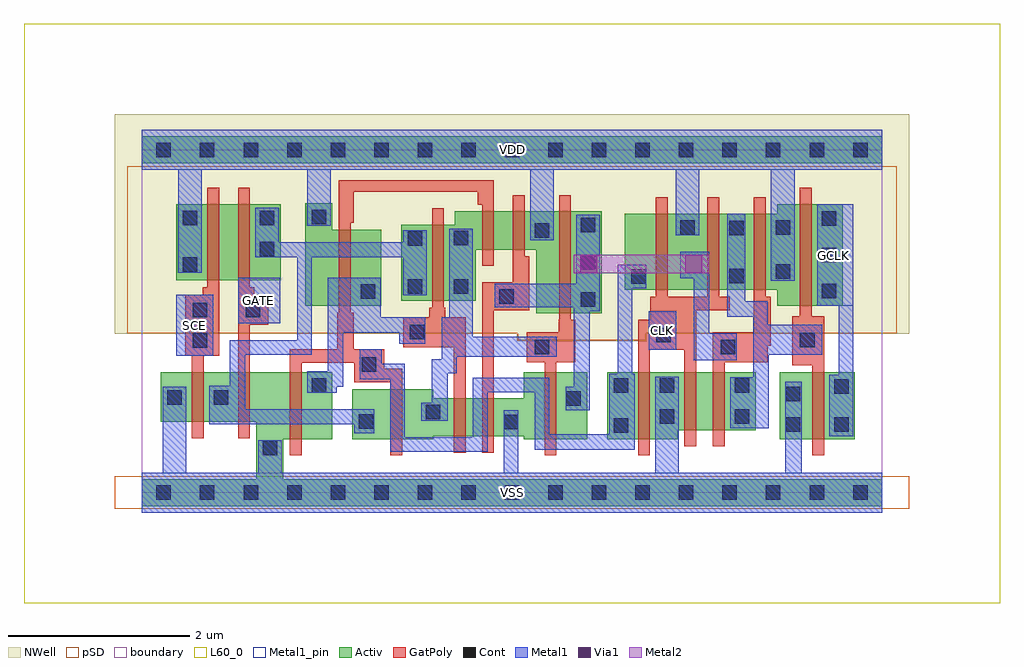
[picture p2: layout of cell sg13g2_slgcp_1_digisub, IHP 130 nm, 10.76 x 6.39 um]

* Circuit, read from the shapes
.subckt sg13g2_slgcp_1_digisub CLK GATE GCLK SCE VDD VSS
XM1 n1 SCE VSS VSS sg13_lv_nmos w=0.55u l=0.13u
XM2 VSS GATE n1 VSS sg13_lv_nmos w=0.55u l=0.13u
XM3 n2 n3 VSS VSS sg13_lv_nmos w=0.74u l=0.13u
XM4 n4 n3 n1 VSS sg13_lv_nmos w=0.55u l=0.13u
XM5 n5 n2 n4 VSS sg13_lv_nmos w=0.42u l=0.13u
XM6 VSS n6 n5 VSS sg13_lv_nmos w=0.42u l=0.13u
XM7 n6 n4 VSS VSS sg13_lv_nmos w=0.74u l=0.13u
XM8 VSS CLK n3 VSS sg13_lv_nmos w=0.74u l=0.13u
XM9 n7 CLK VSS VSS sg13_lv_nmos w=0.64u l=0.13u
XM10 n8 n6 n7 VSS sg13_lv_nmos w=0.64u l=0.13u
XM11 GCLK n8 VSS VSS sg13_lv_nmos w=0.74u l=0.13u
XM12 n9 SCE VDD VDD sg13_lv_pmos w=0.84u l=0.13u
XM13 n1 GATE n9 VDD sg13_lv_pmos w=0.84u l=0.13u
XM14 n2 n3 VDD VDD sg13_lv_pmos w=0.84u l=0.13u
XM15 n4 n2 n1 VDD sg13_lv_pmos w=0.84u l=0.13u
XM16 n10 n3 n4 VDD sg13_lv_pmos w=0.42u l=0.13u
XM17 VDD n6 n10 VDD sg13_lv_pmos w=0.42u l=0.13u
XM18 n6 n4 VDD VDD sg13_lv_pmos w=1.12u l=0.13u
XM19 VDD CLK n3 VDD sg13_lv_pmos w=0.84u l=0.13u
XM20 n8 CLK VDD VDD sg13_lv_pmos w=0.84u l=0.13u
XM21 VDD n6 n8 VDD sg13_lv_pmos w=0.84u l=0.13u
XM22 GCLK n8 VDD VDD sg13_lv_pmos w=1.12u l=0.13u
.ends

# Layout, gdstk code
import gdstk
lib = gdstk.Library(unit=1e-6, precision=1e-09)
def R(c, l, rs):  # rectangles x0, y0, x1, y1
    for r in rs: c.add(gdstk.rectangle(r[:2], r[2:], *l))
def A(c, l, x, y, w, h, nx, ny, dx, dy):  # array of equal rectangles
    R(c, l, [(x+i*dx, y+j*dy, x+i*dx+w, y+j*dy+h) for i in range(nx) for j in range(ny)])
def P(c, l, *ps):  # polygons
    for p in ps: c.add(gdstk.Polygon(p, *l))
Activ = (1, 0)
GatPoly = (5, 0)
Cont = (6, 0)
Metal1 = (8, 0)
Metal1_pin = (8, 2)
Metal2 = (10, 0)
pSD = (14, 0)
Via1 = (19, 0)
NWell = (31, 0)
L60_0 = (60, 0)
boundary = (189, 4)

sg13g2_slgcp_1_digisub = lib.new_cell('sg13g2_slgcp_1_digisub')
R(sg13g2_slgcp_1_digisub, Activ, [(7.03,0.59,7.86,1.33), (0.38,2.34,1.53,3.18), (0,3.63,8.16,3.93)])
P(sg13g2_slgcp_1_digisub, Activ, [(8.16,0.15),(1.56,0.15),(1.56,0.59),(2.1,0.59),(2.1,1.33),(0.21,1.33),(0.21,0.78),(1.26,0.78),(1.26,0.15),(0,0.15),(0,-0.15),(8.16,-0.15)],
  [(7.725,3.18),(7.005,3.18),(7.005,3.075),(5.325,3.075),(5.325,2.235),(7.005,2.235),(7.005,2.06),(7.725,2.06)],
  [(6.765,1.33),(5.13,1.33),(5.13,0.59),(5.91,0.59),(5.91,0.69),(6.765,0.69)],
  [(5.07,3.1),(3.45,3.1),(3.45,2.955),(2.86,2.955),(2.86,2.115),(3.68,2.115),(3.68,2.68),(4.345,2.68),(4.345,1.98),(5.07,1.98)],
  [(4.91,1.33),(4.21,1.33),(4.21,1.04),(3.21,1.04),(3.21,1.14),(2.32,1.14),(2.32,0.59),(3.21,0.59),(3.21,0.62),(4.21,0.62),(4.21,0.59),(4.91,0.59)],
  [(2.64,2.9),(2.1,2.9),(2.1,3.19),(1.8,3.19),(1.8,2.06),(2.64,2.06)])
P(sg13g2_slgcp_1_digisub, GatPoly, [(7.52,1.945),(7.385,1.945),(7.385,3.36),(7.255,3.36),(7.255,1.945),(7.17,1.945),(7.17,1.405),(7.39,1.405),(7.39,0.41),(7.52,0.41)],
  [(6.93,2.16),(6.875,2.16),(6.875,3.255),(6.745,3.255),(6.745,1.77),(6.295,1.77),(6.295,0.51),(6.425,0.51),(6.425,1.44),(6.9,1.44),(6.9,1.62),(6.93,1.62)],
  [(6.48,2.16),(6.365,2.16),(6.365,3.255),(6.235,3.255),(6.235,2.16),(5.795,2.16),(5.795,3.255),(5.665,3.255),(5.665,2.16),(5.605,2.16),(5.605,1.905),(5.47,1.905),(5.47,0.41),(5.6,0.41),(5.6,1.575),(5.98,1.575),(5.98,0.51),(6.11,0.51),(6.11,2.01),(6.48,2.01)],
  [(4.775,1.905),(4.73,1.905),(4.73,3.28),(4.6,3.28),(4.6,1.905),(4.595,1.905),(4.595,1.77),(4.245,1.77),(4.245,1.44),(4.44,1.44),(4.44,0.41),(4.57,0.41),(4.57,1.44),(4.775,1.44)],
  [(4.27,2.605),(4.22,2.605),(4.22,3.28),(4.09,3.28),(4.09,2.32),(3.75,2.32),(3.75,0.44),(3.88,0.44),(3.88,2.01),(4.27,2.01)],
  [(3.88,3.445),(2.17,3.445),(2.17,1.985),(2.155,1.985),(2.155,1.58),(1.63,1.58),(1.63,0.41),(1.76,0.41),(1.76,1.43),(2.34,1.43),(2.34,1.215),(2.74,1.215),(2.74,0.41),(2.87,0.41),(2.87,1.365),(2.67,1.365),(2.67,1.58),(2.335,1.58),(2.335,1.985),(2.3,1.985),(2.3,2.975),(2.335,2.975),(2.335,3.315),(3.7,3.315),(3.7,3.175),(3.75,3.175),(3.75,2.5),(3.88,2.5)],
  [(3.57,1.935),(3.345,1.935),(3.345,2.04),(3.33,2.04),(3.33,3.135),(3.2,3.135),(3.2,2.04),(3.165,2.04),(3.165,1.935),(2.88,1.935),(2.88,1.605),(3.44,1.605),(3.44,0.44),(3.57,0.44)],
  [(1.39,2.18),(1.24,2.18),(1.24,2.265),(1.19,2.265),(1.19,3.36),(1.06,3.36),(1.06,0.6),(1.19,0.6),(1.19,1.85),(1.39,1.85)],
  [(0.85,3.36),(0.72,3.36),(0.72,2.265),(0.67,2.265),(0.67,2.18),(0.475,2.18),(0.475,1.51),(0.55,1.51),(0.55,0.6),(0.68,0.6),(0.68,1.51),(0.85,1.51)])
A(sg13g2_slgcp_1_digisub, Cont, 0.16, -0.08, 0.16, 0.16, 17, 2, 0.48, 3.78)
A(sg13g2_slgcp_1_digisub, Cont, 4.84, 2.05, 0.16, 0.16, 1, 3, 0, 0.41)
R(sg13g2_slgcp_1_digisub, Cont, [(1.33,0.41,1.49,0.57), (5.2,0.66,5.36,0.82), (7.1,0.67,7.26,0.83), (7.63,0.67,7.79,0.83), (3.99,0.7,4.15,0.86), (2.39,0.705,2.55,0.865), (5.71,0.76,5.87,0.92), (6.535,0.76,6.695,0.92), (3.13,0.81,3.29,0.97), (4.68,0.96,4.84,1.12), (0.28,0.97,0.44,1.13), (0.79,0.97,0.95,1.13), (7.1,1.01,7.26,1.17), (7.63,1.09,7.79,1.25), (1.87,1.1,2.03,1.26), (5.2,1.1,5.36,1.26), (5.71,1.1,5.87,1.26), (6.535,1.1,6.695,1.26), (2.425,1.335,2.585,1.495), (4.33,1.525,4.49,1.685), (6.38,1.525,6.54,1.685), (0.56,1.595,0.72,1.755), (7.255,1.605,7.415,1.765), (5.67,1.66,5.83,1.82), (2.95,1.69,3.11,1.85), (0.56,1.935,0.72,2.095), (1.145,1.935,1.305,2.095), (3.94,2.085,4.1,2.245), (2.41,2.14,2.57,2.3), (7.495,2.145,7.655,2.305), (2.93,2.19,3.09,2.35), (3.44,2.19,3.6,2.35), (5.395,2.305,5.555,2.465), (6.475,2.31,6.635,2.47), (6.985,2.36,7.145,2.52), (0.45,2.435,0.61,2.595), (7.495,2.54,7.655,2.7), (1.3,2.605,1.46,2.765), (2.93,2.72,3.09,2.88), (3.44,2.725,3.6,2.885), (4.33,2.81,4.49,2.97), (6.475,2.84,6.635,3), (5.935,2.845,6.095,3.005), (6.985,2.845,7.145,3.005), (7.495,2.945,7.655,3.105), (0.45,2.95,0.61,3.11), (1.3,2.95,1.46,3.11), (1.87,2.96,2.03,3.12)])
R(sg13g2_slgcp_1_digisub, Metal1, [(0.38,1.51,0.785,2.18), (5.585,1.575,5.89,2), (1.06,1.865,1.525,2.37)])
P(sg13g2_slgcp_1_digisub, Metal1, [(8.16,0.22),(7.275,0.22),(7.275,1.22),(7.09,1.22),(7.09,0.22),(5.92,0.22),(5.92,1.275),(5.66,1.275),(5.66,0.22),(4.15,0.22),(4.15,0.91),(3.99,0.91),(3.99,0.22),(1.54,0.22),(1.54,0.575),(1.28,0.575),(1.28,0.22),(0.49,0.22),(0.49,1.165),(0.23,1.165),(0.23,0.22),(0,0.22),(0,-0.22),(8.16,-0.22)],
  [(8.16,4),(0,4),(0,3.56),(0.4,3.56),(0.4,2.425),(0.66,2.425),(0.66,3.56),(1.82,3.56),(1.82,2.94),(2.08,2.94),(2.08,3.56),(4.28,3.56),(4.28,2.785),(4.54,2.785),(4.54,3.56),(5.885,3.56),(5.885,2.835),(6.145,2.835),(6.145,3.56),(6.935,3.56),(6.935,2.335),(7.195,2.335),(7.195,3.56),(8.16,3.56)],
  [(7.84,3.18),(7.445,3.18),(7.445,2.06),(7.68,2.06),(7.68,1.3),(7.58,1.3),(7.58,0.62),(7.84,0.62)],
  [(7.5,1.85),(6.9,1.85),(6.9,2.11),(6.65,2.11),(6.65,3.075),(6.455,3.075),(6.455,1.94),(6.74,1.94),(6.74,1.27),(6.485,1.27),(6.485,0.71),(6.91,0.71),(6.91,1.52),(7.5,1.52)],
  [(6.56,1.76),(6.255,1.76),(6.255,2.655),(5.935,2.655),(5.935,2.365),(6.085,2.365),(6.085,1.46),(6.56,1.46)],
  [(5.56,2.515),(5.245,2.515),(5.245,1.31),(5.15,1.31),(5.15,0.645),(4.49,0.645),(4.49,1.265),(3.65,1.265),(3.65,0.61),(2.9,0.61),(2.9,1.42),(2.645,1.42),(2.645,1.58),(2.4,1.58),(2.4,1.25),(2.74,1.25),(2.74,0.45),(3.81,0.45),(3.81,1.105),(4.33,1.105),(4.33,0.475),(5.435,0.475),(5.435,1.31),(5.405,1.31),(5.405,2.255),(5.56,2.255)],
  [(5.05,3.065),(4.79,3.065),(4.79,2.305),(3.89,2.305),(3.89,2.045),(4.76,2.045),(4.76,1.17),(4.67,1.17),(4.67,0.91),(4.935,0.91),(4.935,2),(5.05,2)],
  [(4.575,1.72),(3.65,1.72),(3.65,2.91),(3.39,2.91),(3.39,1.935),(3.305,1.935),(3.305,1.47),(3.195,1.47),(3.195,0.99),(3.08,0.99),(3.08,0.79),(3.37,0.79),(3.37,1.315),(3.47,1.315),(3.47,1.5),(4.575,1.5)],
  [(3.14,2.895),(2.88,2.895),(2.88,2.76),(1.51,2.76),(1.51,3.14),(1.25,3.14),(1.25,2.595),(1.71,2.595),(1.71,1.68),(0.97,1.68),(0.97,1.18),(0.74,1.18),(0.74,0.755),(2.34,0.755),(2.34,0.655),(2.56,0.655),(2.56,0.92),(1.14,0.92),(1.14,1.52),(1.87,1.52),(1.87,2.595),(2.88,2.595),(2.88,2.175),(3.14,2.175)],
  [(3.125,1.935),(2.635,1.935),(2.635,2.37),(2.05,2.37),(2.05,1.34),(1.82,1.34),(1.82,1.1),(2.15,1.1),(2.15,1.17),(2.22,1.17),(2.22,1.765),(2.835,1.765),(2.835,1.64),(3.125,1.64)])
R(sg13g2_slgcp_1_digisub, Metal1_pin, [(0,-0.22,8.16,0.22), (0.38,1.51,0.785,2.18), (5.585,1.575,5.89,2), (1.06,1.865,1.525,2.37), (7.445,2.06,7.84,3.18), (0,3.56,8.16,4)])
R(sg13g2_slgcp_1_digisub, Metal2, [(4.76,2.42,6.255,2.62)])
R(sg13g2_slgcp_1_digisub, pSD, [(-0.3,-0.18,8.46,0.18)])
P(sg13g2_slgcp_1_digisub, pSD, [(8.32,3.6),(-0.16,3.6),(-0.16,1.76),(4.145,1.76),(4.145,1.68),(5.555,1.68),(5.555,1.76),(8.32,1.76)])
R(sg13g2_slgcp_1_digisub, Via1, [(4.83,2.425,5.02,2.615), (5.99,2.425,6.18,2.615)])
P(sg13g2_slgcp_1_digisub, NWell, [(8.46,4.17),(-0.3,4.17),(-0.3,1.75),(4.135,1.75),(4.135,1.67),(5.565,1.67),(5.565,1.75),(8.46,1.75)])
R(sg13g2_slgcp_1_digisub, L60_0, [(-1.3,-1.22,9.46,5.17)])
R(sg13g2_slgcp_1_digisub, boundary, [(0,0,8.16,3.78)])
sg13g2_slgcp_1_digisub.add(gdstk.Label('GCLK', (7.62,2.615), layer=8, texttype=25))
sg13g2_slgcp_1_digisub.add(gdstk.Label('SCE', (0.58,1.845), layer=8, texttype=25))
sg13g2_slgcp_1_digisub.add(gdstk.Label('GATE', (1.29,2.115), layer=8, texttype=25))
sg13g2_slgcp_1_digisub.add(gdstk.Label('CLK', (5.735,1.785), layer=8, texttype=25))
sg13g2_slgcp_1_digisub.add(gdstk.Label('VSS', (4.085,0), layer=8, texttype=25))
sg13g2_slgcp_1_digisub.add(gdstk.Label('VDD', (4.08,3.78), layer=8, texttype=25))

lib.write_gds('sg13g2_slgcp_1_digisub.gds')
